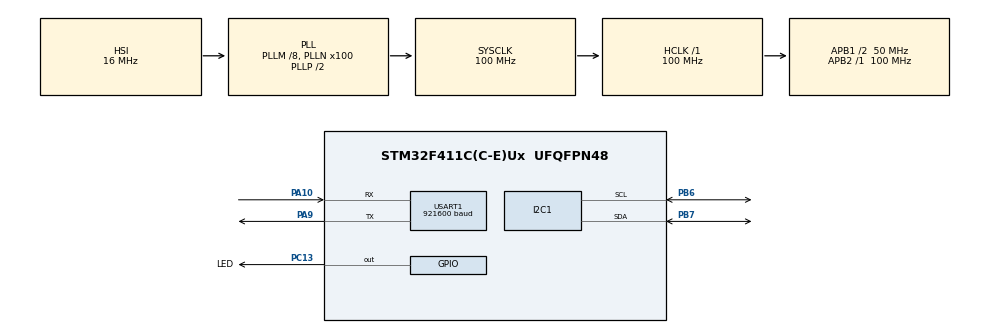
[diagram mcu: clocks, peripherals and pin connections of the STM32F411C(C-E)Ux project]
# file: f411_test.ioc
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I2C1.I2C_Mode=I2C_Fast
Mcu.Family=STM32F4
Mcu.Name=STM32F411C(C-E)Ux
Mcu.Package=UFQFPN48
NVIC.PriorityGroup=NVIC_PRIORITYGROUP_4
NVIC.USART1_IRQn=true\:0\:0\:false\:false\:true\:true\:true\:true
PA10.Mode=Asynchronous
PA10.Signal=USART1_RX
PA13.Mode=Serial_Wire
PA13.Signal=SYS_JTMS-SWDIO
PA14.Mode=Serial_Wire
PA14.Signal=SYS_JTCK-SWCLK
PA9.Mode=Asynchronous
PA9.Signal=USART1_TX
PB6.Mode=I2C
PB6.Signal=I2C1_SCL
PB7.Mode=I2C
PB7.Signal=I2C1_SDA
PC13-ANTI_TAMP.GPIO_Label=LED
PC13-ANTI_TAMP.PinState=GPIO_PIN_SET
PC13-ANTI_TAMP.Signal=GPIO_Output
PH0\ -\ OSC_IN.Mode=HSE-External-Oscillator
PH0\ -\ OSC_IN.Signal=RCC_OSC_IN
PH1\ -\ OSC_OUT.Mode=HSE-External-Oscillator
PH1\ -\ OSC_OUT.Signal=RCC_OSC_OUT
ProjectManager.HeapSize=0x200
ProjectManager.StackSize=0x400
ProjectManager.TargetToolchain=MDK-ARM V5.32
RCC.48MHZClocksFreq_Value=50000000
RCC.AHBFreq_Value=100000000
RCC.APB1CLKDivider=RCC_HCLK_DIV2
RCC.APB1Freq_Value=50000000
RCC.APB1TimFreq_Value=100000000
RCC.APB2Freq_Value=100000000
RCC.APB2TimFreq_Value=100000000
RCC.CortexFreq_Value=100000000
RCC.HCLKFreq_Value=100000000
RCC.HSE_VALUE=25000000
RCC.HSI_VALUE=16000000
RCC.LSE_VALUE=32768
RCC.PLLM=8
RCC.PLLN=100
RCC.SYSCLKFreq_VALUE=100000000
RCC.SYSCLKSource=RCC_SYSCLKSOURCE_PLLCLK
RCC.VCOOutputFreq_Value=200000000
USART1.BaudRate=921600
USART1.VirtualMode=VM_ASYNC
board=custom

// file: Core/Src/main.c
/* USER CODE BEGIN Header */
/**
  ******************************************************************************
  * @file           : main.c
  * @brief          : Main program body
  ******************************************************************************
  * @attention
  *
  * Copyright (c) 2026 STMicroelectronics.
  * All rights reserved.
  *
  * This software is licensed under terms that can be found in the LICENSE file
  * in the root directory of this software component.
  * If no LICENSE file comes with this software, it is provided AS-IS.
  *
  ******************************************************************************
  */
/* USER CODE END Header */
#include "main.h"
#include "i2c.h"
#include "usart.h"
#include "gpio.h"

/* USER CODE BEGIN Includes */
#include "u8g2.h"
uint8_t u8x8_byte_stm32_hw_i2c(u8x8_t *u8x8, uint8_t msg, uint8_t arg_int, void *arg_ptr);
uint8_t u8x8_gpio_and_delay_stm32(u8x8_t *u8x8, uint8_t msg, uint8_t arg_int, void *arg_ptr);
/* USER CODE END Includes */

/* USER CODE BEGIN PV */
u8g2_t u8g2;
static uint8_t u8g2_buf[1024];
#define IMG_SIZE 1024
uint8_t img_buffer[IMG_SIZE];
uint8_t rx_byte; // 临时存 1 个字节
volatile uint16_t img_idx = 0;
volatile uint8_t frame_ready = 0;
/* USER CODE END PV */

void SystemClock_Config(void);

int main(void)
{

  /* MCU Configuration--------------------------------------------------------*/

  /* Reset of all peripherals, Initializes the Flash interface and the Systick. */
  HAL_Init();

  /* Configure the system clock */
  SystemClock_Config();

  /* Initialize all configured peripherals */
  MX_GPIO_Init();
  MX_I2C1_Init();
  MX_USART1_UART_Init();
  /* USER CODE BEGIN 2 */
u8g2_SetupDisplay(&u8g2, u8x8_d_ssd1306_128x64_noname, u8x8_cad_ssd13xx_fast_i2c, u8x8_byte_stm32_hw_i2c, u8x8_gpio_and_delay_stm32);

u8g2_SetupBuffer(&u8g2, u8g2_buf, 8, u8g2_ll_hvline_vertical_top_lsb, U8G2_R0);

u8x8_SetI2CAddress(&u8g2.u8x8, 0x78);
u8g2_InitDisplay(&u8g2);
u8g2_SetPowerSave(&u8g2, 0);
HAL_UART_Receive_IT(&huart1, &rx_byte, 1);
  /* USER CODE END 2 */

  /* Infinite loop */
  while (1)
  {

    /* USER CODE BEGIN 3 */
	  if (frame_ready)
  {
      u8g2_ClearBuffer(&u8g2);

      u8g2_DrawXBM(&u8g2, 0, 0, 128, 64, img_buffer);
      u8g2_SendBuffer(&u8g2);

      frame_ready = 0; // 清除标志，准备收下一帧
      img_idx = 0;     // 索引归零

  }
  }
  /* USER CODE END 3 */
}

void SystemClock_Config(void)
{
  RCC_OscInitTypeDef RCC_OscInitStruct = {0};
  RCC_ClkInitTypeDef RCC_ClkInitStruct = {0};

  /** Configure the main internal regulator output voltage
  */
  __HAL_RCC_PWR_CLK_ENABLE();
  __HAL_PWR_VOLTAGESCALING_CONFIG(PWR_REGULATOR_VOLTAGE_SCALE1);

  /** Initializes the RCC Oscillators according to the specified parameters
  * in the RCC_OscInitTypeDef structure.
  */
  RCC_OscInitStruct.OscillatorType = RCC_OSCILLATORTYPE_HSI;
  RCC_OscInitStruct.HSIState = RCC_HSI_ON;
  RCC_OscInitStruct.HSICalibrationValue = RCC_HSICALIBRATION_DEFAULT;
  RCC_OscInitStruct.PLL.PLLState = RCC_PLL_ON;
  RCC_OscInitStruct.PLL.PLLSource = RCC_PLLSOURCE_HSI;
  RCC_OscInitStruct.PLL.PLLM = 8;
  RCC_OscInitStruct.PLL.PLLN = 100;
  RCC_OscInitStruct.PLL.PLLP = RCC_PLLP_DIV2;
  RCC_OscInitStruct.PLL.PLLQ = 4;
  if (HAL_RCC_OscConfig(&RCC_OscInitStruct) != HAL_OK)
  {
    Error_Handler();
  }

  /** Initializes the CPU, AHB and APB buses clocks
  */
  RCC_ClkInitStruct.ClockType = RCC_CLOCKTYPE_HCLK|RCC_CLOCKTYPE_SYSCLK
                              |RCC_CLOCKTYPE_PCLK1|RCC_CLOCKTYPE_PCLK2;
  RCC_ClkInitStruct.SYSCLKSource = RCC_SYSCLKSOURCE_PLLCLK;
  RCC_ClkInitStruct.AHBCLKDivider = RCC_SYSCLK_DIV1;
  RCC_ClkInitStruct.APB1CLKDivider = RCC_HCLK_DIV2;
  RCC_ClkInitStruct.APB2CLKDivider = RCC_HCLK_DIV1;

  if (HAL_RCC_ClockConfig(&RCC_ClkInitStruct, FLASH_LATENCY_3) != HAL_OK)
  {
    Error_Handler();
  }
}

/* USER CODE BEGIN 4 */
volatile uint8_t rx_state = 0;

void HAL_UART_RxCpltCallback(UART_HandleTypeDef *huart)
{
    if(huart->Instance == USART1)
    {
        // 状态机逻辑
        if (rx_state == 0)
        {

            if (rx_byte == 0xFE)
            {
                rx_state = 1;
                img_idx = 0;
        }
        else if (rx_state == 1)
        {

            if (frame_ready == 0)
            {
                img_buffer[img_idx++] = rx_byte;

                if (img_idx >= 1024)
                {
                    frame_ready = 1;
                    rx_state = 0;
                }
            }
        }

        HAL_UART_Receive_IT(&huart1, &rx_byte, 1);
    }
}
	}

/* USER CODE END 4 */

void Error_Handler(void)
{
  __disable_irq();
  while (1)
  {
  }
}
